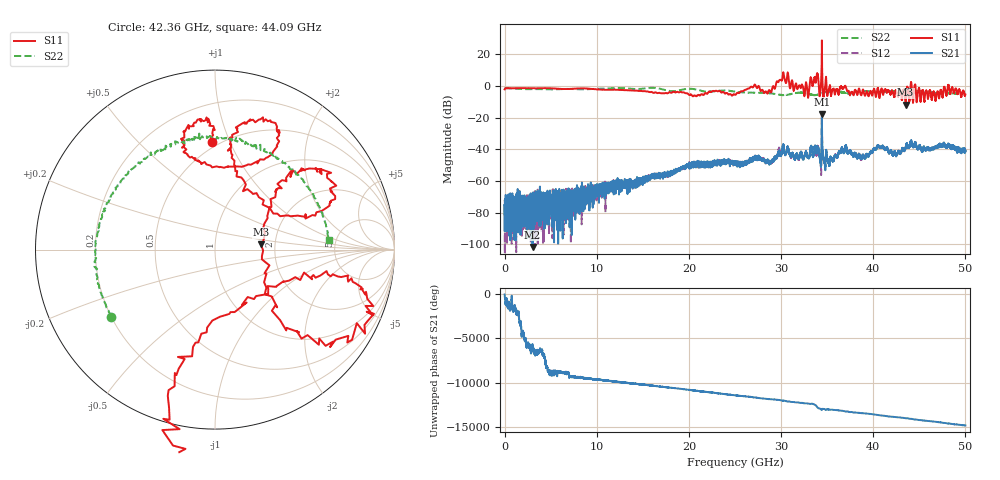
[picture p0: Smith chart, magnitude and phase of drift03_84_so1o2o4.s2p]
!Created with skrf (http://scikit-rf.org).
# Hz S RI R 50.0
!freq ReS11 ImS11 ReS21 ImS21 ReS12 ImS12 ReS22 ImS22
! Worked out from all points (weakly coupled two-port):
!   10000 points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, 5.3 MHz to 50 GHz, reference 50 ohm
!   highest |S21| = -17.62 dB at 34.43 GHz (marker M1); lowest = -101.7 dB at 3.04 GHz (marker M2)
!   lowest |S11| = -11.8 dB at 43.52 GHz (marker M3), VSWR 1.69, Z = 84.1 + j5.26 ohm
!   |S11| at or under -10 dB: 43.48415 GHz to 43.545 GHz (60.85 MHz wide, 0.14 % of centre); 44.30918 GHz to 44.31813 GHz (8.945 MHz wide, 0.0202 % of centre); 44.32299 GHz to 44.3307 GHz (7.702 MHz wide, 0.0174 % of centre) (the widest 3 of 4)
!   |S22| runs from -5.8 to -1.1 dB; largest |S21 - S12| = 0.032
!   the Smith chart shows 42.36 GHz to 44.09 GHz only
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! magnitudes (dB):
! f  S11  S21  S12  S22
! 5.3 MHz  -2.1  -75.2  -74.8  -1.3
! 3.04 GHz  -1.4  -101.7  -75.5  -2.0
! 8.34 GHz  -1.5  -63.1  -69.0  -2.1
! 16.67 GHz  -4.4  -56.8  -56.4  -1.4
! 20.48 GHz  -6.4  -49.3  -50.1  -1.9
! 25.01 GHz  -5.5  -49.2  -48.6  -3.5
! 27.02 GHz  -0.3  -44.9  -45.8  -4.2
! 28.72 GHz  -2.5  -48.0  -47.1  -4.5
! 30.14 GHz  4.4  -40.0  -40.6  -5.7
! 32.74 GHz  2.0  -42.4  -42.1  -4.6
! 33.34 GHz  2.6  -40.1  -40.3  -5.6
! 33.82 GHz  4.0  -41.9  -42.2  -5.7
! 34.43 GHz  28.8  -17.6  -18.3  -4.5
! 35.37 GHz  -3.0  -44.3  -45.8  -3.3
! 36.84 GHz  -0.8  -41.5  -41.3  -4.1
! 38.84 GHz  -3.0  -44.0  -44.2  -3.2
! 40.63 GHz  -6.0  -38.2  -38.6  -4.0
! 41.67 GHz  -2.8  -41.7  -42.6  -3.3
! 43.52 GHz  -11.8  -39.4  -39.0  -4.0
! 46.95 GHz  -3.6  -38.2  -38.4  -4.7
! 48.32 GHz  -4.4  -37.9  -38.1  -4.5
! 50 GHz  -5.3  -41.1  -41.6  -4.5
